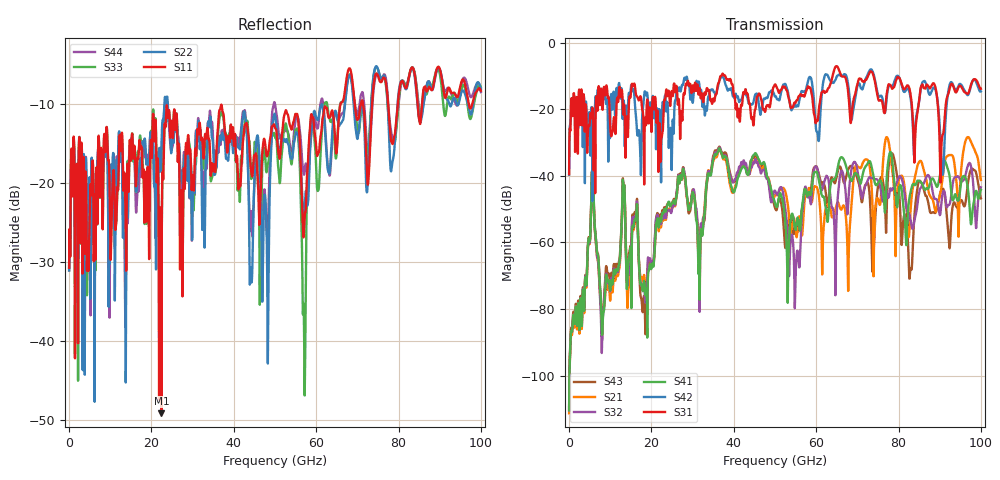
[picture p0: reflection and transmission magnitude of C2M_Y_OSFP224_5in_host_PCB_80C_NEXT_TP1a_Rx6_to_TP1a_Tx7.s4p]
# GHz S RI R 45
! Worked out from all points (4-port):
!   4000 points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, 25 MHz to 100 GHz, reference 45 ohm
!   strongest paths, dB at 25 MHz, 25.02 GHz, 50.02 GHz, 75.03 GHz, 100 GHz:
!     S31: -39.5, -14.7, -12.5, -16.6, -13.8
!     S42: -39.6, -28.1, -16.1, -15.6, -14.6
!     S41: -110.5, -48.3, -48.2, -42.1, -44.2
!     S32: -110.4, -49.7, -44.5, -41.4, -43.4
!     S21: -111.4, -49.6, -45.8, -46.9, -41.2
!     S43: -109.5, -48.1, -49.6, -43.2, -46.7
!   lowest |S11| = -49.2 dB at 22.43 GHz (marker M1), VSWR 1.01, Z = 45 + j0.309 ohm
!   |S11| at or under -10 dB: start of sweep to 65.93 GHz; 71.37 GHz to 73.58 GHz (2.214 GHz wide, 3.05 % of centre); 77.47 GHz to 79.82 GHz (2.351 GHz wide, 2.99 % of centre)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
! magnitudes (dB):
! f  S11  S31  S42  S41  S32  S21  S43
! 25 MHz  -30.8  -39.5  -39.6  -110.5  -110.4  -111.4  -109.5
! 5.725 GHz  -17.2  -19.5  -37.6  -36.3  -36.4  -36.5  -36.3
! 8.175 GHz  -25.9  -20.0  -16.6  -83.9  -82.4  -80.9  -83.8
! 13.18 GHz  -20.7  -21.4  -18.2  -42.6  -42.7  -42.9  -42.4
! 18.27 GHz  -23.4  -35.8  -15.4  -71.7  -73.0  -70.0  -76.5
! 22.43 GHz  -49.2  -28.5  -30.9  -52.9  -53.7  -54.5  -51.9
! 100 GHz  -8.3  -13.8  -14.6  -44.2  -43.4  -41.2  -46.7
